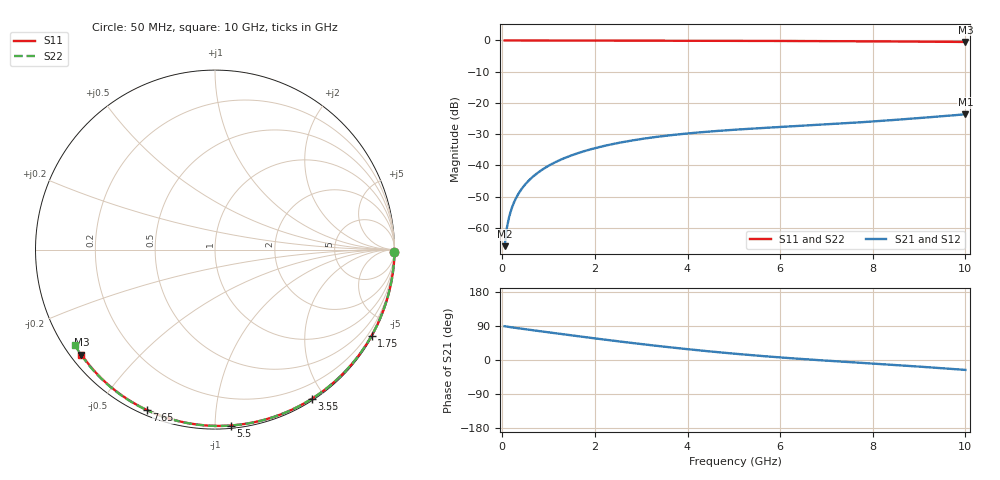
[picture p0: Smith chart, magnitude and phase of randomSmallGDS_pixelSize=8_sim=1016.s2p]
! freq	dB(S11)	phase(S11)	dB(S12)	phase(S12)
!  dB(S21)	phase(S21)	dB(S22)	phase(S22)
!S-par simulation data
#  GHz  S  DB  R 50
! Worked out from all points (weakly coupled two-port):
!   200 points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, 50 MHz to 10 GHz, reference 50 ohm
!   highest |S21| = -23.67 dB at 10 GHz (marker M1); lowest = -65.9 dB at 50 MHz (marker M2)
!   lowest |S11| = -0.5 dB at 10 GHz (marker M3), VSWR 36.25, Z = 1.54 - j17.3 ohm
!   |S11| at or under -10 dB: nowhere
!   |S22| runs from -0.5 to 0.0 dB; largest |S21 - S12| = 0
!   S11 on the Smith chart (normalised r, x): 50 MHz: open; 1.75 GHz: 0.03, -3.89; 3.55 GHz: 0.02, -1.84; 5.5 GHz: 0.02, -1.09; 7.65 GHz: 0.02, -0.66; 10 GHz: 0.03, -0.35
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0.05  -0.00 -0.8  -65.92 89.0  -65.92 89.0  -0.00 -0.9
0.1  -0.00 -1.7  -59.90 88.1  -59.90 88.1  -0.00 -1.7
0.15  -0.00 -2.5  -56.39 87.2  -56.39 87.2  -0.00 -2.6
0.2  -0.00 -3.4  -53.91 86.3  -53.91 86.3  -0.00 -3.4
0.25  -0.00 -4.2  -51.98 85.4  -51.98 85.4  -0.00 -4.3
0.35  -0.00 -5.9  -49.09 83.7  -49.09 83.7  -0.00 -6.0
0.5  -0.01 -8.4  -46.03 81.2  -46.03 81.2  -0.01 -8.5
0.7  -0.01 -11.7  -43.16 77.9  -43.16 77.9  -0.01 -11.9
1  -0.02 -16.6  -40.15 73.0  -40.15 73.0  -0.02 -17.0
1.35  -0.03 -22.3  -37.65 67.3  -37.65 67.3  -0.03 -22.8
1.75  -0.04 -28.8  -35.56 60.9  -35.56 60.9  -0.04 -29.5
2.5  -0.05 -40.8  -32.85 49.4  -32.85 49.4  -0.06 -41.7
3.4  -0.07 -54.6  -30.77 36.5  -30.77 36.5  -0.08 -55.9
3.55  -0.08 -56.9  -30.50 34.4  -30.50 34.4  -0.08 -58.2
4.3  -0.10 -68.0  -29.40 24.8  -29.40 24.8  -0.10 -69.5
5.05  -0.12 -78.7  -28.57 16.3  -28.57 16.3  -0.13 -80.5
5.5  -0.14 -84.9  -28.16 11.6  -28.16 11.6  -0.14 -86.9
6.7  -0.20 -100.9  -27.15 0.7  -27.15 0.7  -0.20 -103.3
7.65  -0.26 -113.0  -26.30 -6.8  -26.30 -6.8  -0.27 -115.8
8.35  -0.31 -121.7  -25.59 -12.2  -25.59 -12.2  -0.32 -124.8
9.2  -0.39 -132.1  -24.63 -19.1  -24.63 -19.1  -0.40 -135.7
10  -0.48 -141.8  -23.67 -26.2  -23.67 -26.2  -0.49 -145.9
